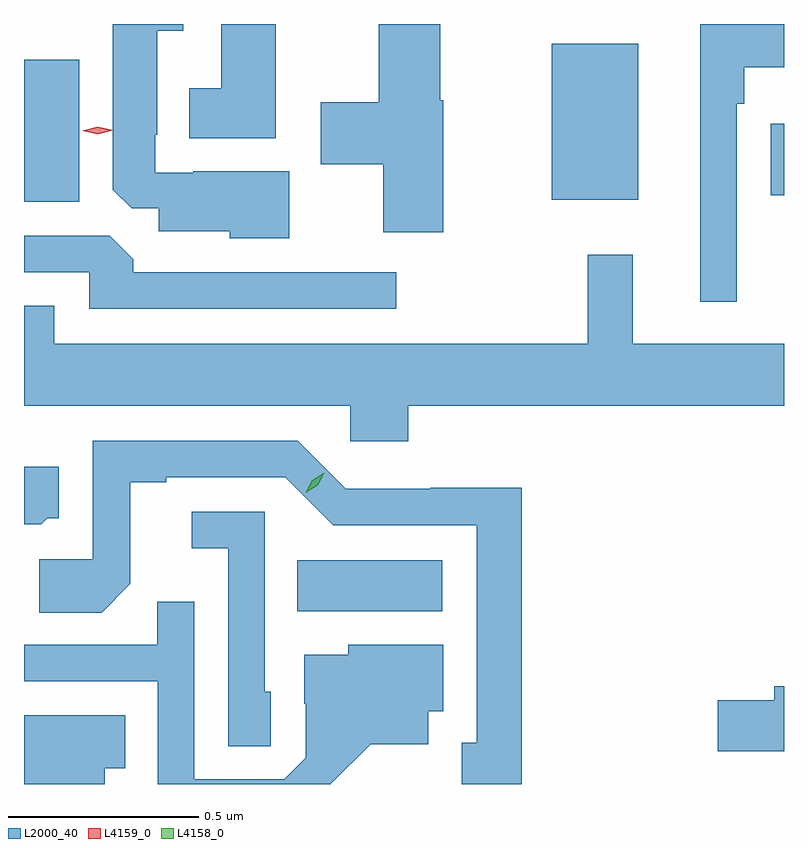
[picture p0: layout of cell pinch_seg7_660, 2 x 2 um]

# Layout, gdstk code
import gdstk
lib = gdstk.Library(unit=1e-6, precision=1e-09)
def R(c, l, rs):  # rectangles x0, y0, x1, y1
    for r in rs: c.add(gdstk.rectangle(r[:2], r[2:], *l))
def P(c, l, *ps):  # polygons
    for p in ps: c.add(gdstk.Polygon(p, *l))
L2000_40 = (2000, 40)
L4158_0 = (4158, 0)
L4159_0 = (4159, 0)

pinch_seg7_660 = lib.new_cell('pinch_seg7_660')
R(pinch_seg7_660, L2000_40, [(142.918,1026.716,143.299,1026.85), (142.199,1027.793,142.345,1028.167), (143.588,1027.799,143.815,1028.209), (144.164,1027.811,144.199,1027.999)])
P(pinch_seg7_660, L2000_40, [(144.075,1028.051),(144.095,1028.051),(144.095,1028.147),(144.199,1028.147),(144.199,1028.261),(143.978,1028.261),(143.978,1027.53),(144.075,1027.53)],
  [(142.861,1028.261),(142.718,1028.261),(142.718,1028.092),(142.634,1028.092),(142.634,1027.961),(142.861,1027.961)],
  [(143.302,1028.061),(143.295,1028.061),(143.295,1028.261),(143.132,1028.261),(143.132,1028.055),(142.98,1028.055),(142.98,1027.892),(143.144,1027.892),(143.144,1027.713),(143.302,1027.713)],
  [(142.897,1027.873),(142.645,1027.873),(142.645,1027.869),(142.545,1027.869),(142.545,1027.969),(142.549,1027.969),(142.549,1028.243),(142.618,1028.243),(142.618,1028.261),(142.433,1028.261),(142.433,1027.825),(142.482,1027.776),(142.553,1027.776),(142.553,1027.715),(142.74,1027.715),(142.74,1027.697),(142.897,1027.697)],
  [(143.179,1027.608),(142.487,1027.608),(142.487,1027.642),(142.425,1027.704),(142.199,1027.704),(142.199,1027.608),(142.371,1027.608),(142.371,1027.512),(143.179,1027.512)],
  [(143.21,1027.256),(144.199,1027.256),(144.199,1027.42),(143.801,1027.42),(143.801,1027.654),(143.683,1027.654),(143.683,1027.42),(142.279,1027.42),(142.279,1027.519),(142.199,1027.519),(142.199,1027.256),(143.058,1027.256),(143.058,1027.163),(143.21,1027.163)],
  [(143.509,1027.04),(143.268,1027.04),(143.268,1027.038),(143.046,1027.038),(142.92,1027.164),(142.38,1027.164),(142.38,1026.852),(142.239,1026.852),(142.239,1026.712),(142.403,1026.712),(142.479,1026.788),(142.479,1027.055),(142.573,1027.055),(142.573,1027.068),(142.887,1027.068),(143.013,1026.942),(143.39,1026.942),(143.39,1026.369),(143.351,1026.369),(143.351,1026.261),(143.509,1026.261)],
  [(142.26,1026.96),(142.291,1026.96),(142.291,1027.096),(142.199,1027.096),(142.199,1026.944),(142.244,1026.944)],
  [(142.848,1026.504),(142.833,1026.504),(142.833,1026.978),(142.641,1026.978),(142.641,1026.881),(142.737,1026.881),(142.737,1026.361),(142.848,1026.361)],
  [(143.008,1026.263),(143.111,1026.365),(143.263,1026.365),(143.263,1026.452),(143.302,1026.452),(143.302,1026.628),(143.052,1026.628),(143.052,1026.601),(142.937,1026.601),(142.937,1026.472),(142.941,1026.472),(142.941,1026.33),(142.884,1026.273),(142.647,1026.273),(142.647,1026.74),(142.549,1026.74),(142.549,1026.627),(142.199,1026.627),(142.199,1026.531),(142.551,1026.531),(142.551,1026.261),(143.006,1026.261)],
  [(144.199,1026.518),(144.173,1026.518),(144.173,1026.482),(144.024,1026.482),(144.024,1026.347),(144.199,1026.347)],
  [(142.411,1026.302),(142.466,1026.302),(142.466,1026.442),(142.199,1026.442),(142.199,1026.261),(142.411,1026.261)])
P(pinch_seg7_660, L4158_0, [(142.941,1027.028),(142.941,1027.028),(142.958,1027.061),(142.989,1027.08),(142.989,1027.08),(142.989,1027.08),(142.972,1027.047),(142.941,1027.028)])
P(pinch_seg7_660, L4159_0, [(142.393,1027.971),(142.352,1027.98),(142.352,1027.98),(142.352,1027.98),(142.393,1027.991),(142.434,1027.982),(142.434,1027.982),(142.434,1027.981)])

lib.write_gds('pinch_seg7_660.gds')
